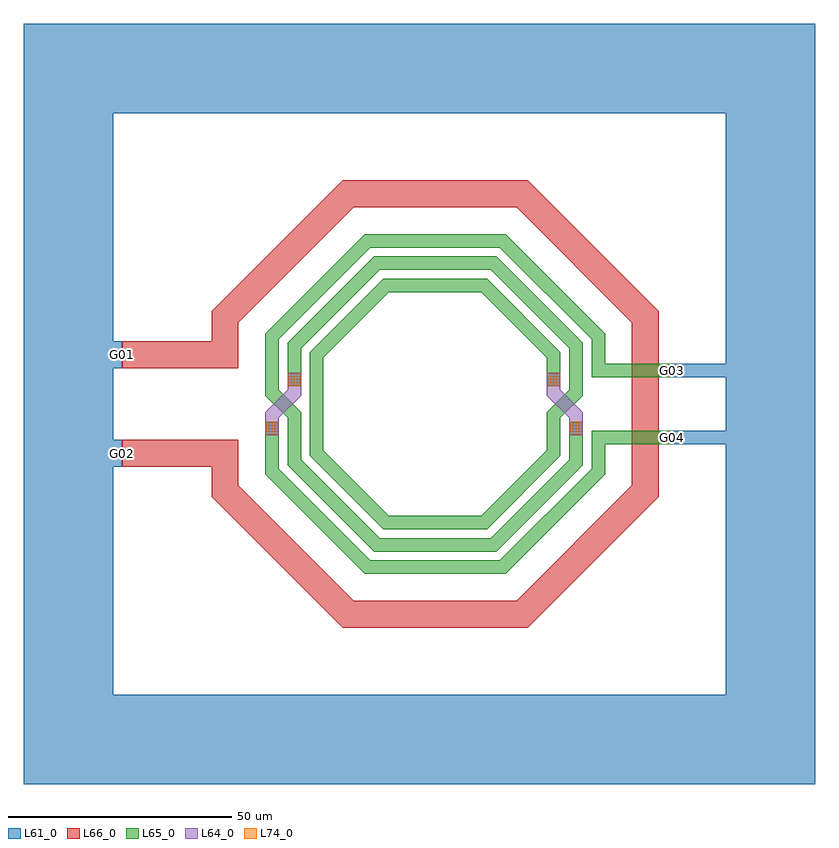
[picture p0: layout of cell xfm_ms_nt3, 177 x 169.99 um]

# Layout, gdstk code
import gdstk
lib = gdstk.Library(unit=1e-6, precision=1e-09)
def R(c, l, rs):  # rectangles x0, y0, x1, y1
    for r in rs: c.add(gdstk.rectangle(r[:2], r[2:], *l))
def A(c, l, x, y, w, h, nx, ny, dx, dy):  # array of equal rectangles
    R(c, l, [(x+i*dx, y+j*dy, x+i*dx+w, y+j*dy+h) for i in range(nx) for j in range(ny)])
def P(c, l, *ps):  # polygons
    for p in ps: c.add(gdstk.Polygon(p, *l))
L61_0 = (61, 0)
L64_0 = (64, 0)
L65_0 = (65, 0)
L66_0 = (66, 0)
L74_0 = (74, 0)

xfm_ms_nt3 = lib.new_cell('xfm_ms_nt3')
R(xfm_ms_nt3, L61_0, [(-92,-84.995,-72,84.995), (-72,-84.995,65,-64.995), (65,-84.995,85,84.995), (-72,-14,-70,-8), (53,-9,65,-6), (53,6,65,9), (-72,8,-70,14), (-72,64.995,65,84.995)])
R(xfm_ms_nt3, L64_0, [(-38,-6.96,-35,-3.96), (30,-6.96,33,-3.96), (-33,3.96,-30,6.96), (25,3.96,28,6.96)])
P(xfm_ms_nt3, L64_0, [(30,-3.96),(30,-3.115),(25,1.885),(25,3.96),(28,3.96),(28,3.135),(33,-1.865),(33,-3.96)],
  [(-38,-3.96),(-38,-1.865),(-33,3.135),(-33,3.96),(-30,3.96),(-30,1.885),(-35,-3.115),(-35,-3.96)])
R(xfm_ms_nt3, L65_0, [(38,-9,53,-6), (-38,-6.96,-35,-3.96), (-33,-6.96,-30,-3.96), (25,-6.96,28,-3.96), (30,-6.96,33,-3.96), (-38,3.96,-35,6.96), (-33,3.96,-30,6.96), (25,3.96,28,6.96), (30,3.96,33,6.96), (38,6,53,9)])
P(xfm_ms_nt3, L65_0, [(30,3.96),(30,12.415),(12.42,29.995),(0,29.995),(0,32.995),(13.67,32.995),(33,13.665),(33,3.96)],
  [(-33,3.96),(-33,13.665),(-13.67,32.995),(0,32.995),(0,29.995),(-12.42,29.995),(-30,12.415),(-30,3.96)],
  [(0,-32.995),(0,-29.995),(12.42,-29.995),(30,-12.415),(30,-3.96),(33,-3.96),(33,-13.665),(13.67,-32.995)],
  [(-13.67,-32.995),(-33,-13.665),(-33,-3.96),(-30,-3.96),(-30,-12.415),(-12.42,-29.995),(0,-29.995),(0,-32.995)],
  [(25,-3.96),(25,-1.865),(30,3.135),(30,3.96),(33,3.96),(33,1.885),(28,-3.115),(28,-3.96)],
  [(-38,3.96),(-38,15.735),(-15.74,37.995),(0,37.995),(0,34.995),(-14.49,34.995),(-35,14.485),(-35,3.96)],
  [(35,6),(35,14.485),(14.49,34.995),(0,34.995),(0,37.995),(15.74,37.995),(38,15.735),(38,6)],
  [(-15.74,-37.995),(-38,-15.735),(-38,-3.96),(-35,-3.96),(-35,-14.485),(-14.49,-34.995),(0,-34.995),(0,-37.995)],
  [(0,-37.995),(0,-34.995),(14.49,-34.995),(35,-14.485),(35,-6),(38,-6),(38,-15.735),(15.74,-37.995)],
  [(-33,-3.96),(-33,-3.115),(-38,1.885),(-38,3.96),(-35,3.96),(-35,3.135),(-30,-1.865),(-30,-3.96)],
  [(-28,0),(-28,11.595),(-11.6,27.995),(0,27.995),(0,24.995),(-10.35,24.995),(-25,10.345),(-25,0)],
  [(25,3.96),(25,10.345),(10.35,24.995),(0,24.995),(0,27.995),(11.6,27.995),(28,11.595),(28,3.96)],
  [(-11.6,-27.995),(-28,-11.595),(-28,0),(-25,0),(-25,-10.345),(-10.35,-24.995),(0,-24.995),(0,-27.995)],
  [(0,-27.995),(0,-24.995),(10.35,-24.995),(25,-10.345),(25,-3.96),(28,-3.96),(28,-11.595),(11.6,-27.995)])
R(xfm_ms_nt3, L66_0, [(-70,-14,-44,-8), (-70,8,-44,14)])
P(xfm_ms_nt3, L66_0, [(-50,8),(-50,20.705),(-20.71,49.995),(0,49.995),(0,43.995),(-18.215,43.995),(-44,18.21),(-44,8)],
  [(44,0),(44,18.21),(18.215,43.995),(0,43.995),(0,49.995),(20.71,49.995),(50,20.705),(50,0)],
  [(-20.71,-49.995),(-50,-20.705),(-50,-8),(-44,-8),(-44,-18.21),(-18.215,-43.995),(0,-43.995),(0,-49.995)],
  [(0,-49.995),(0,-43.995),(18.215,-43.995),(44,-18.21),(44,0),(50,0),(50,-20.705),(20.71,-49.995)])
A(xfm_ms_nt3, L74_0, -37.95, -6.91, 0.3, 0.3, 5, 5, 0.65, 0.65)
A(xfm_ms_nt3, L74_0, 30.05, -6.91, 0.3, 0.3, 5, 5, 0.65, 0.65)
A(xfm_ms_nt3, L74_0, -32.95, 4.01, 0.3, 0.3, 5, 5, 0.65, 0.65)
A(xfm_ms_nt3, L74_0, 25.05, 4.01, 0.3, 0.3, 5, 5, 0.65, 0.65)
xfm_ms_nt3.add(gdstk.Label('G01', (-70,11), layer=61, texttype=2))
xfm_ms_nt3.add(gdstk.Label('G02', (-70,-11), layer=61, texttype=2))
xfm_ms_nt3.add(gdstk.Label('G03', (53,7.5), layer=61, texttype=2))
xfm_ms_nt3.add(gdstk.Label('G04', (53,-7.5), layer=61, texttype=2))
xfm_ms_nt3.add(gdstk.Label('P1', (-70,11), layer=66, texttype=2))
xfm_ms_nt3.add(gdstk.Label('N1', (-70,-11), layer=66, texttype=2))
xfm_ms_nt3.add(gdstk.Label('P2', (53,7.5), layer=65, texttype=2))
xfm_ms_nt3.add(gdstk.Label('N2', (53,-7.5), layer=65, texttype=2))

lib.write_gds('xfm_ms_nt3.gds')
